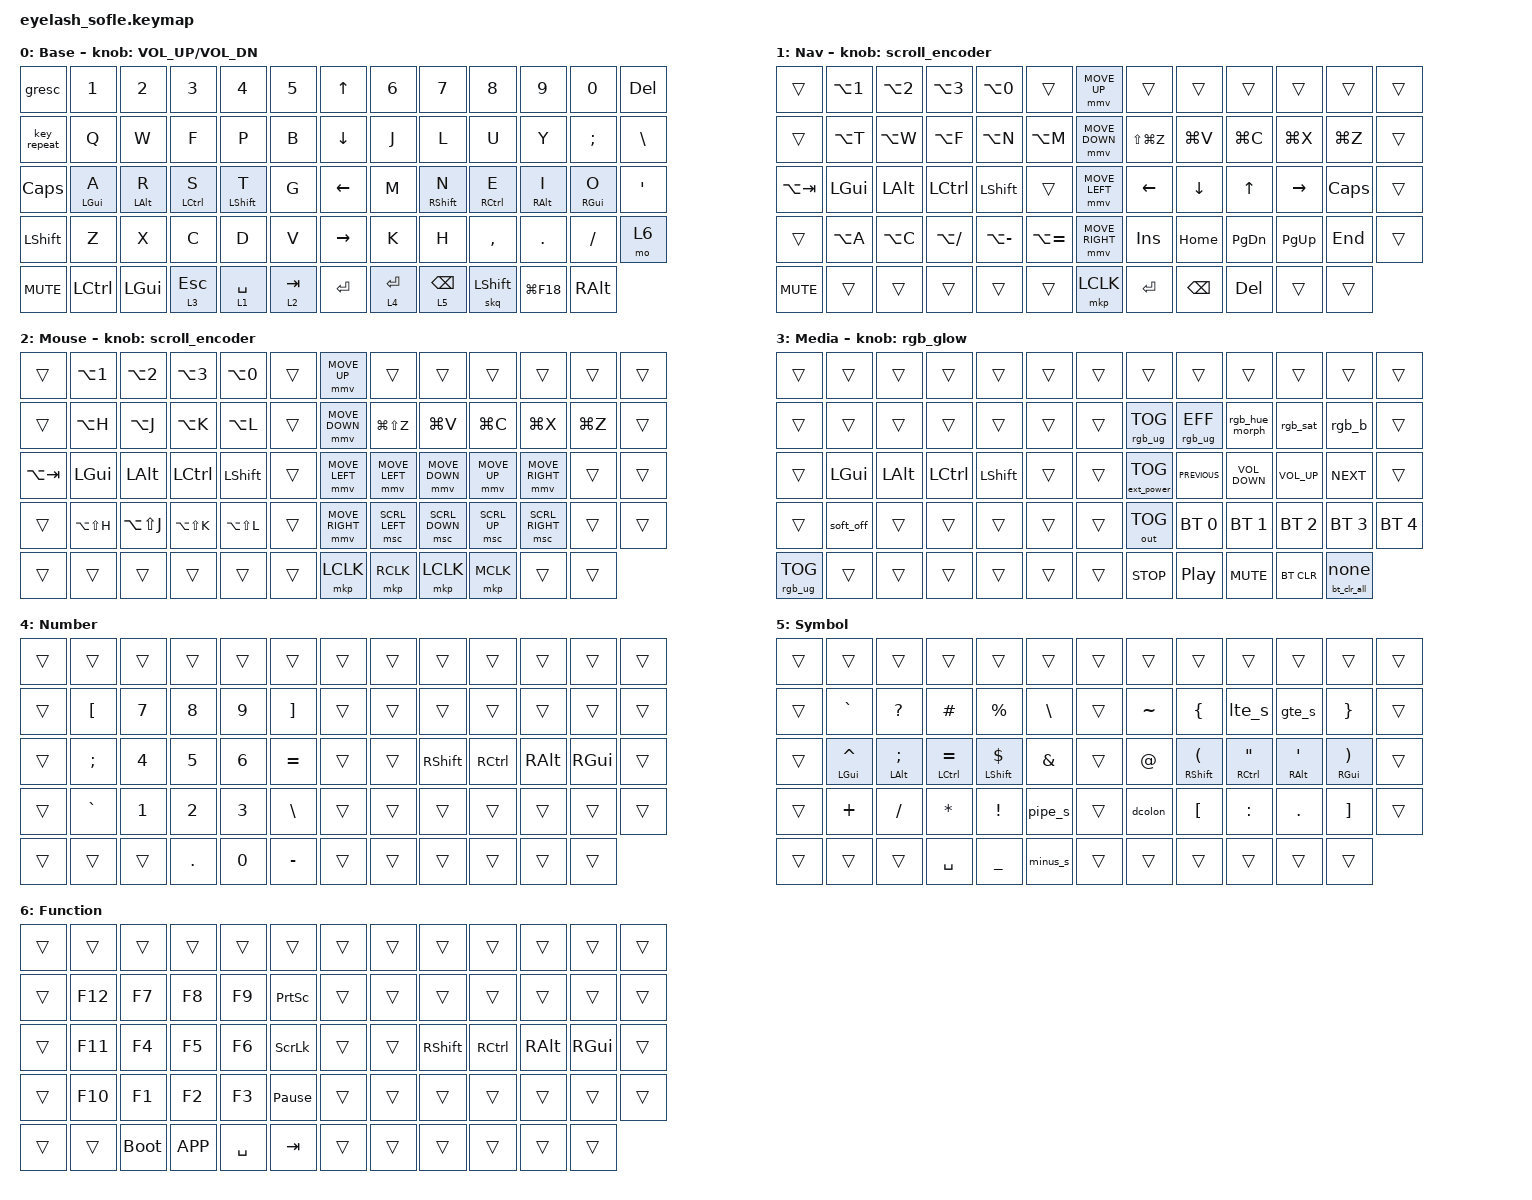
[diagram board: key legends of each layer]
#define ZMK_POINTING_DEFAULT_MOVE_VAL 1200  // 600
#define ZMK_POINTING_DEFAULT_SCRL_VAL 25   // 10

#include <input/processors.dtsi>
#include <zephyr/dt-bindings/input/input-event-codes.h>
#include <behaviors.dtsi>
#include <dt-bindings/zmk/bt.h>
#include <dt-bindings/zmk/ext_power.h>
#include <dt-bindings/zmk/keys.h>
#include <dt-bindings/zmk/outputs.h>
#include <dt-bindings/zmk/pointing.h>
#include <dt-bindings/zmk/rgb.h>

&mmv_input_listener { input-processors = <&zip_xy_scaler 2 1>; };

&msc_input_listener { input-processors = <&zip_scroll_scaler 2 1>; };

&msc {
    acceleration-exponent = <1>;      // 0
    time-to-max-speed-ms = <100>;       // 300
    delay-ms = <0>;                   // 0
};

&mmv {
    time-to-max-speed-ms = <500>;
    acceleration-exponent = <1>;
    trigger-period-ms = <16>;
};

&soft_off {
    hold-time-ms = <3000>;  // Require 3 second hold to trigger
};

/ {
    scroll_encoder: scroll_encoder {
        compatible = "zmk,behavior-sensor-rotate";
        #sensor-binding-cells = <0>;
        bindings = <&msc SCRL_DOWN>, <&msc SCRL_UP>;

        tap-ms = <100>;
    };

    rgb_glow: rgb_glow {
        compatible = "zmk,behavior-sensor-rotate";
        #sensor-binding-cells = <0>;
        bindings = <&rgb_ug RGB_BRI>, <&rgb_ug RGB_BRD>;

        tap-ms = <100>;
    };

    combos {
        compatible = "zmk,combos";

        leader_key {
            bindings = <&kp LA(SPACE)>;
            key-positions = <60 56>;
        };

        bootloader_right {
            bindings = <&bootloader>;
            key-positions = <12 38 51>;  // DEL + APOS + Function (right outer column)
            timeout-ms = <100>;
        };
    };

    behaviors {
        rgb_hue_morph: rgb_h_morph {
            compatible = "zmk,behavior-mod-morph";
            bindings = <&rgb_ug RGB_HUI>, <&rgb_ug RGB_HUD>;

            #binding-cells = <0>;
            mods = <(MOD_RSFT|MOD_LSFT)>;
        };

        rgb_b: rgb_b_morph {
            compatible = "zmk,behavior-mod-morph";
            bindings = <&rgb_ug RGB_BRI>, <&rgb_ug RGB_BRD>;

            #binding-cells = <0>;
            mods = <(MOD_LSFT|MOD_RSFT)>;
        };

        rgb_sat: rgb_sat {
            compatible = "zmk,behavior-mod-morph";
            bindings = <&rgb_ug RGB_SAI>, <&rgb_ug RGB_SAD>;

            #binding-cells = <0>;
            mods = <(MOD_LSFT|MOD_RSFT)>;
        };

        gte_s: gte_s {
            compatible = "zmk,behavior-mod-morph";
            bindings = <&kp GREATER_THAN>, <&gte>;

            #binding-cells = <0>;
            mods = <(MOD_LSFT|MOD_RSFT)>;
        };

        lte_s: lte_s {
            compatible = "zmk,behavior-mod-morph";
            bindings = <&kp LESS_THAN>, <&lte>;

            #binding-cells = <0>;
            mods = <(MOD_LSFT|MOD_RSFT)>;
        };

        pipe_s: pipe_s {
            compatible = "zmk,behavior-mod-morph";
            bindings = <&kp PIPE>, <&pipe_gt>;

            #binding-cells = <0>;
            mods = <(MOD_LSFT|MOD_RSFT)>;
        };

        minus_s: minus_s {
            compatible = "zmk,behavior-mod-morph";
            bindings = <&kp MINUS>, <&arrow>;

            #binding-cells = <0>;
            mods = <(MOD_LSFT|MOD_RSFT)>;
        };

        equal_s: equal_s {
            compatible = "zmk,behavior-mod-morph";
            bindings = <&kp EQUAL>, <&fat_arrow>;

            #binding-cells = <0>;
            mods = <(MOD_LSFT|MOD_RSFT)>;
        };

        hml: home_row_mod_left {
            compatible = "zmk,behavior-hold-tap";
            bindings = <&kp>, <&kp>;

            #binding-cells = <2>;
            hold-trigger-on-release;
            flavor = "balanced";
            require-prior-idle-ms = <150>;
            quick-tap-ms = <175>;
            tapping-term-ms = <280>;
            hold-trigger-key-positions = <7 8 9 10 11 12 20 21 22 23 24 25 33 34 35 36 37 38 46 47 48 49 50 51 60 61 62 63 59 57 56 55>;
        };

        hmr: home_row_mod_right {
            compatible = "zmk,behavior-hold-tap";
            bindings = <&kp>, <&kp>;

            #binding-cells = <2>;
            hold-trigger-on-release;
            flavor = "balanced";
            require-prior-idle-ms = <150>;
            quick-tap-ms = <175>;
            tapping-term-ms = <280>;
            hold-trigger-key-positions = <0 1 2 3 4 5 13 14 15 16 17 18 26 27 28 29 30 31 39 40 41 42 43 44 53 54 55 56 57 59 60 61>;
        };

        skq: skq {
            compatible = "zmk,behavior-sticky-key";
            bindings = <&kp>;
            #binding-cells = <1>;
            release-after-ms = <1000>;
            quick-release;
            ignore-modifiers;
        };

        // Hold 3s to clear all BT pairings; a tap does nothing
        bt_clr_all_hold: bt_clr_all_hold {
            compatible = "zmk,behavior-hold-tap";
            bindings = <&bt_clr_all>, <&none>;

            #binding-cells = <2>;
            flavor = "tap-preferred";
            tapping-term-ms = <3000>;
        };
    };

    macros {
        bt_clr_all: bt_clr_all {
            compatible = "zmk,behavior-macro";
            #binding-cells = <0>;
            bindings = <&bt BT_CLR_ALL>;
        };

        gte: gte {
            compatible = "zmk,behavior-macro";
            #binding-cells = <0>;
            bindings = <&kp GREATER_THAN &kp EQUAL>;
        };

        lte: lte {
            compatible = "zmk,behavior-macro";
            #binding-cells = <0>;
            bindings = <&kp LESS_THAN &kp EQUAL>;
        };

        dcolon: dcolon {
            compatible = "zmk,behavior-macro";
            #binding-cells = <0>;
            bindings = <&kp COLON &kp COLON>;
        };

        pipe_gt: pipe_gt {
            compatible = "zmk,behavior-macro";
            #binding-cells = <0>;
            bindings = <&kp PIPE &kp GREATER_THAN>;
        };

        arrow: arrow {
            compatible = "zmk,behavior-macro";
            #binding-cells = <0>;
            bindings = <&kp MINUS &kp GREATER_THAN>;
        };

        fat_arrow: fat_arrow {
            compatible = "zmk,behavior-macro";
            #binding-cells = <0>;
            bindings = <&kp EQUAL &kp GREATER_THAN>;
        };
    };

    keymap {
        compatible = "zmk,keymap";

        Base {
            bindings = <
&gresc       &kp N1       &kp N2        &kp N3        &kp N4         &kp N5       &kp UP_ARROW     &kp N6       &kp N7           &kp N8           &kp N9                         &kp N0         &kp DEL
&key_repeat  &kp Q        &kp W         &kp F         &kp P          &kp B        &kp DOWN_ARROW   &kp J        &kp L            &kp U            &kp Y                          &kp SEMICOLON  &kp BSLH
&kp CAPS     &hml LGUI A  &hml LALT R   &hml LCTRL S  &hml LSHIFT T  &kp G        &kp LEFT_ARROW   &kp M        &hmr RSHIFT N    &hmr RCTRL E     &hmr RALT I                    &hmr RGUI O    &kp APOS
&kp LSHFT    &kp Z        &kp X         &kp C         &kp D          &kp V        &kp RIGHT_ARROW  &kp K        &kp H            &kp COMMA        &kp DOT                        &kp FSLH       &mo 6
&kp C_MUTE   &kp LCTRL    &kp LEFT_GUI  &lt 3 ESC     &lt 1 SPACE    &lt 2 TAB    &kp ENTER        &lt 4 ENTER  &lt 5 BACKSPACE  &skq LEFT_SHIFT  &kp LG(F18)                    &kp RALT
            >;

            sensor-bindings = <&inc_dec_kp C_VOLUME_UP C_VOL_DN>;
            display-name = "Base";
        };

        Navigation {
            bindings = <
&trans       &kp LA(N1)    &kp LA(N2)    &kp LA(N3)        &kp LA(N0)     &trans           &mmv MOVE_UP     &trans         &trans         &trans         &trans       &trans     &trans
&trans       &kp LA(T)     &kp LA(W)     &kp LA(F)         &kp LA(N)      &kp LA(M)        &mmv MOVE_DOWN   &kp LS(LG(Z))  &kp LG(V)      &kp LG(C)      &kp LG(X)    &kp LG(Z)  &trans
&kp LA(TAB)  &kp LEFT_GUI  &kp LEFT_ALT  &kp LEFT_CONTROL  &kp LSHIFT     &trans           &mmv MOVE_LEFT   &kp LEFT       &kp DOWN       &kp UP         &kp RIGHT    &kp CAPS   &trans
&trans       &kp LA(A)     &kp LA(C)     &kp LA(SLASH)     &kp LA(MINUS)  &kp LA(EQUAL)    &mmv MOVE_RIGHT  &kp INSERT     &kp HOME       &kp PAGE_DOWN  &kp PAGE_UP  &kp END    &trans
&kp C_MUTE   &trans        &trans        &trans            &trans         &trans           &mkp LCLK        &kp ENTER      &kp BACKSPACE  &kp DELETE     &trans       &trans
            >;

            sensor-bindings = <&scroll_encoder>;
            display-name = "Nav";
        };

        Mouse {
            bindings = <
&trans       &kp LA(N1)     &kp LA(N2)     &kp LA(N3)     &kp LA(N0)      &trans    &mmv MOVE_UP     &trans          &trans          &trans        &trans           &trans     &trans
&trans       &kp LA(H)      &kp LA(J)      &kp LA(K)      &kp LA(L)       &trans    &mmv MOVE_DOWN   &kp LG(LS(Z))   &kp LG(V)       &kp LG(C)     &kp LG(X)        &kp LG(Z)  &trans
&kp LA(TAB)  &kp LEFT_GUI   &kp LALT       &kp LCTRL      &kp LEFT_SHIFT  &trans    &mmv MOVE_LEFT   &mmv MOVE_LEFT  &mmv MOVE_DOWN  &mmv MOVE_UP  &mmv MOVE_RIGHT  &trans     &trans
&trans       &kp LA(LS(H))  &kp LA(LS(J))  &kp LA(LS(K))  &kp LA(LS(L))   &trans    &mmv MOVE_RIGHT  &msc SCRL_LEFT  &msc SCRL_DOWN  &msc SCRL_UP  &msc SCRL_RIGHT  &trans     &trans
&trans       &trans         &trans         &trans         &trans          &trans    &mkp LCLK        &mkp RCLK       &mkp LCLK       &mkp MCLK     &trans           &trans
            >;

            sensor-bindings = <&scroll_encoder>;
            display-name = "Mouse";
        };

        Media {
            bindings = <
&trans           &trans        &trans    &trans     &trans      &trans    &trans  &trans             &trans            &trans             &trans           &trans          &trans
&trans           &trans        &trans    &trans     &trans      &trans    &trans  &rgb_ug RGB_TOG    &rgb_ug RGB_EFF   &rgb_hue_morph     &rgb_sat         &rgb_b          &trans
&trans           &kp LEFT_GUI  &kp LALT  &kp LCTRL  &kp LSHIFT  &trans    &trans  &ext_power EP_TOG  &kp C_PREVIOUS    &kp K_VOLUME_DOWN  &kp K_VOLUME_UP  &kp C_NEXT      &trans
&trans           &soft_off     &trans    &trans     &trans      &trans    &trans  &out OUT_TOG       &bt BT_SEL 0      &bt BT_SEL 1       &bt BT_SEL 2     &bt BT_SEL 3    &bt BT_SEL 4
&rgb_ug RGB_TOG  &trans        &trans    &trans     &trans      &trans    &trans  &kp C_STOP         &kp C_PLAY_PAUSE  &kp K_MUTE         &bt BT_CLR       &bt_clr_all_hold 0 0
            >;

            sensor-bindings = <&rgb_glow>;
            display-name = "Media";
        };

        Number {
            bindings = <
&trans  &trans     &trans        &trans   &trans  &trans           &trans  &trans  &trans     &trans     &trans    &trans    &trans
&trans  &kp LBKT   &kp N7        &kp N8   &kp N9  &kp RBKT         &trans  &trans  &trans     &trans     &trans    &trans    &trans
&trans  &kp SEMI   &kp NUMBER_4  &kp N5   &kp N6  &kp EQUAL        &trans  &trans  &kp RSHFT  &kp RCTRL  &kp RALT  &kp RGUI  &trans
&trans  &kp GRAVE  &kp N1        &kp N2   &kp N3  &kp BACKSLASH    &trans  &trans  &trans     &trans     &trans    &trans    &trans
&trans  &trans     &trans        &kp DOT  &kp N0  &kp MINUS        &trans  &trans  &trans     &trans     &trans    &trans
            >;

            display-name = "Number";
        };

        Symbol {
            bindings = <
&trans  &trans           &trans               &trans            &trans              &trans           &trans  &trans     &trans                        &trans          &trans         &trans                       &trans
&trans  &kp GRAVE        &kp QUESTION         &kp HASH          &kp PERCENT         &kp BACKSLASH    &trans  &kp TILDE  &kp LEFT_BRACE                &lte_s          &gte_s         &kp RIGHT_BRACE              &trans
&trans  &hml LGUI CARET  &hml LALT SEMICOLON  &hml LCTRL EQUAL  &hml LSHIFT DOLLAR  &kp AMPERSAND    &trans  &kp AT     &hmr RSHIFT LEFT_PARENTHESIS  &hmr RCTRL DQT  &hmr RALT SQT  &hmr RGUI RIGHT_PARENTHESIS  &trans
&trans  &kp PLUS         &kp SLASH            &kp ASTERISK      &kp EXCLAMATION     &pipe_s          &trans  &dcolon    &kp LEFT_BRACKET              &kp COLON       &kp PERIOD     &kp RIGHT_BRACKET            &trans
&trans  &trans           &trans               &kp SPACE         &kp UNDERSCORE      &minus_s         &trans  &trans     &trans                        &trans          &trans         &trans
            >;

            display-name = "Symbol";
        };

        Function {
            bindings = <
&trans  &trans   &trans       &trans     &trans     &trans             &trans  &trans  &trans      &trans     &trans    &trans    &trans
&trans  &kp F12  &kp F7       &kp F8     &kp F9     &kp PRINTSCREEN    &trans  &trans  &trans      &trans     &trans    &trans    &trans
&trans  &kp F11  &kp F4       &kp F5     &kp F6     &kp SCROLLLOCK     &trans  &trans  &kp RSHIFT  &kp RCTRL  &kp RALT  &kp RGUI  &trans
&trans  &kp F10  &kp F1       &kp F2     &kp F3     &kp PAUSE_BREAK    &trans  &trans  &trans      &trans     &trans    &trans    &trans
&trans  &trans   &bootloader  &kp K_APP  &kp SPACE  &kp TAB            &trans  &trans  &trans      &trans     &trans    &trans
            >;

            display-name = "Function";
        };
    };
};
